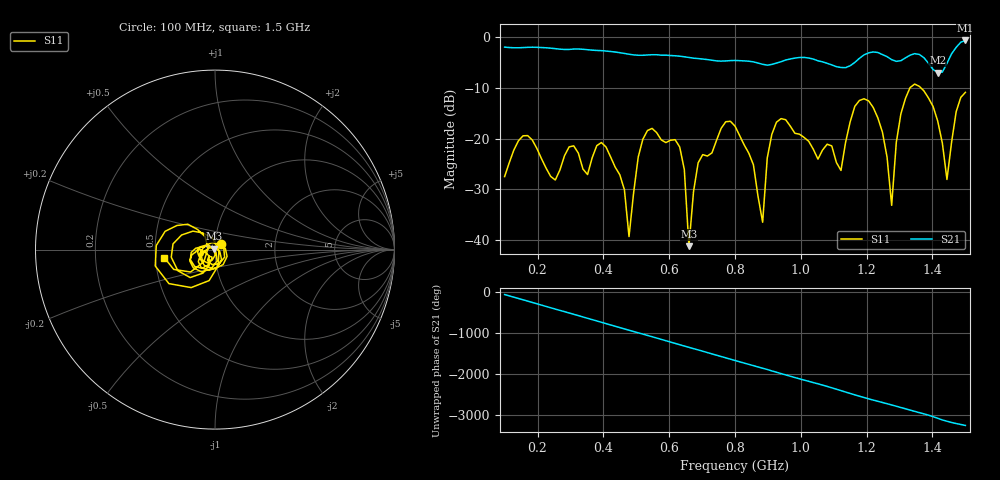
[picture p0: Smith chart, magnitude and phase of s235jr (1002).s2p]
! NanoVNA-App
! Date: 2025-09-25 15:11:58
! Start: 100MHz Stop: 1,5GHz Points: 101
! S-Parameter data: F S11 S21 S12 S22
# Hz S RI R 50
!  Frequency  S11_Real  S11_Imag  S21_Real  S21_Imag  S12_Real  S12_Imag  S22_Real  S22_Imag
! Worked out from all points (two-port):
!   101 points, 100 MHz to 1.5 GHz, reference 50 ohm
!   highest |S21| = -0.65 dB at 1.5 GHz (marker M1); lowest = -7.0 dB at 1.416 GHz (marker M2)
!   |S21| within 3 dB of the highest: start of sweep to 613.2 MHz; 1.189 GHz to 1.255 GHz (66.67 MHz wide, 5.46 % of centre) (the widest 2 of 4)
!   lowest |S11| = -41.2 dB at 660 MHz (marker M3), VSWR 1.02, Z = 49.3 + j0.517 ohm
!   |S11| at or under -10 dB: start of sweep to 1.331 GHz; 1.365 GHz to end of sweep
!   S12 and S22 are empty: the file has one direction only
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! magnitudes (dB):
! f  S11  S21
! 100 MHz  -27.5  -2.0
! 156 MHz  -19.4  -2.0
! 338 MHz  -26.0  -2.4
! 408 MHz  -21.6  -2.7
! 478 MHz  -39.3  -3.4
! 520 MHz  -20.1  -3.6
! 576 MHz  -20.2  -3.5
! 632 MHz  -21.6  -3.7
! 660 MHz  -41.2  -4.0
! 688 MHz  -24.7  -4.2
! 800 MHz  -17.5  -4.6
! 884 MHz  -36.5  -5.3
! 926 MHz  -16.7  -5.1
! 1.038 GHz  -22.1  -4.3
! 1.122 GHz  -26.3  -6.0
! 1.206 GHz  -12.5  -3.1
! 1.276 GHz  -33.1  -4.4
! 1.29 GHz  -20.8  -4.8
! 1.332 GHz  -9.9  -3.5
! 1.416 GHz  -16.5  -7.0
! 1.444 GHz  -28.0  -5.1
! 1.5 GHz  -10.9  -0.6
